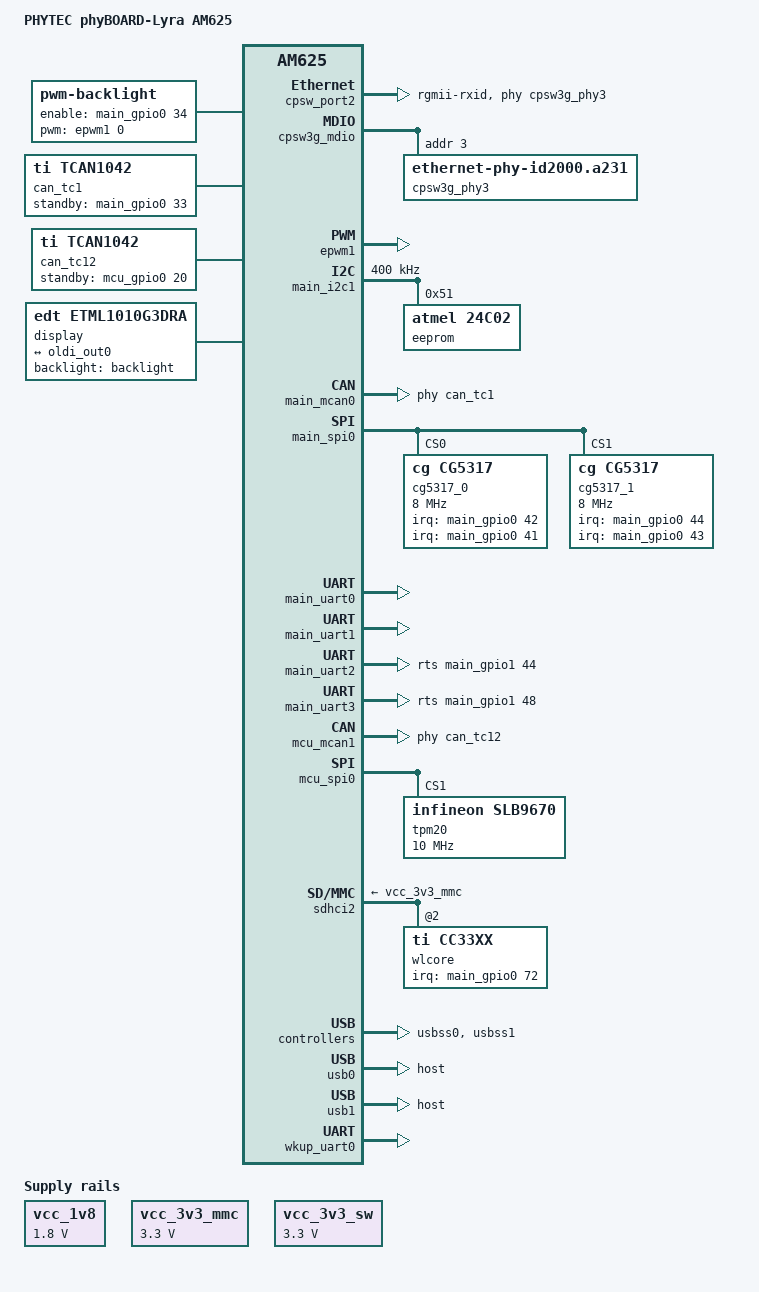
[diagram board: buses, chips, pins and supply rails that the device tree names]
// SPDX-License-Identifier: GPL-2.0
/*
 * Copyright (C) 2022 - 2023 PHYTEC Messtechnik GmbH
 * Author: Wadim Egorov <w.egorov@phytec.de>
 *
 * Product homepage:
 * https://www.phytec.com/product/phyboard-am62x
 */

#include <dt-bindings/gpio/gpio.h>
#include <dt-bindings/input/input.h>
#include <dt-bindings/leds/common.h>
#include <dt-bindings/net/ti-dp83867.h>
#include "k3-am625.dtsi"
#include "k3-am62-phycore-som.dtsi"

/ {
	compatible = "phytec,am625-phyboard-lyra-rdk",
		     "phytec,am62-phycore-som", "ti,am625";
	model = "PHYTEC phyBOARD-Lyra AM625";

	aliases {
		serial2 = &main_uart0;
		serial3 = &main_uart1;
		serial4 = &main_uart2;
		serial5 = &main_uart3;
		serial6 = &wkup_uart0;
		mmc2 = &sdhci2;
		usb0 = &usb0;
		usb1 = &usb1;
		ethernet1 = &cpsw_port2;
	};

	backlight: backlight {
		pinctrl-names = "default";
		pinctrl-0 = <&bl_pwm_pins_default>;

		compatible = "pwm-backlight";

		brightness-levels = <0 4 8 16 32 64 128 255>;
		default-brightness-level = <6>;

		enable-gpios = <&main_gpio0 34 GPIO_ACTIVE_HIGH>;
		pwms = <&epwm1 0 50000 0>;
	};

	can_tc1: can-phy0 {
		compatible = "ti,tcan1042";
		#phy-cells = <0>;
		max-bitrate = <5000000>;
		standby-gpios = <&main_gpio0 33 GPIO_ACTIVE_HIGH>;
	};

	can_tc12: can-phy1 {
		compatible = "ti,tcan1042";
		#phy-cells = <0>;
		max-bitrate = <5000000>;
		standby-gpios = <&mcu_gpio0 20 GPIO_ACTIVE_HIGH>;
	};

	display {
		compatible = "edt,etml1010g3dra";
		backlight = <&backlight>;

		port@0 {
			lcd_in0: endpoint {
				remote-endpoint = <&oldi_out0>;
			};
		};
	};

	vcc_1v8: regulator-vcc-1v8 {
		compatible = "regulator-fixed";
		regulator-name = "VCC_1V8";
		regulator-min-microvolt = <1800000>;
		regulator-max-microvolt = <1800000>;
		regulator-always-on;
		regulator-boot-on;
	};

	vcc_3v3_mmc: regulator-vcc-3v3-mmc {
		compatible = "regulator-fixed";
		regulator-name = "VCC_3V3_MMC";
		regulator-min-microvolt = <3300000>;
		regulator-max-microvolt = <3300000>;
		regulator-always-on;
		regulator-boot-on;
	};

	vcc_3v3_sw: regulator-vcc-3v3-sw {
		compatible = "regulator-fixed";
		regulator-name = "VCC_3V3_SW";
		regulator-min-microvolt = <3300000>;
		regulator-max-microvolt = <3300000>;
		regulator-always-on;
		regulator-boot-on;
	};
};

&main_pmx0 {
	bl_pwm_pins_default: bl-pwm-pins-default {
		pinctrl-single,pins = <
			AM62X_IOPAD(0x008c, PIN_OUTPUT, 7) /* (L25) GPMC0_WEn.GPIO0_34 */
			AM62X_IOPAD(0x019c, PIN_OUTPUT, 6) /* (B18) MCASP0_AXR1.EHRPWM1_A */
		>;
	};

	gpio_pins_default: gpio-pins-default {
		pinctrl-single,pins = <
			AM62X_IOPAD(0x1A4, PIN_OUTPUT, 7) /* (B20) MCASP0_ACLKX.GPIO1_11  -> MSP #OE */
			AM62X_IOPAD(0x1A8, PIN_OUTPUT, 7) /* (D20) MCASP0_AFSX.GPIO1_12  -> MSP BSL Mode */
			AM62X_IOPAD(0x1d4, PIN_INPUT, 7) /* (B15) UART0_RTSn.GPIO1_23 */
		>;
	};

	main_dss0_pins_default: main-dss0-pins-default {
		pinctrl-single,pins = <
			AM62X_IOPAD(0x0b8, PIN_OUTPUT, 0) /* (U22) VOUT0_DATA0 */
			AM62X_IOPAD(0x0bc, PIN_OUTPUT, 0) /* (V24) VOUT0_DATA1 */
			AM62X_IOPAD(0x0e0, PIN_OUTPUT, 0) /* (V20) VOUT0_DATA10 */
			AM62X_IOPAD(0x0e4, PIN_OUTPUT, 0) /* (AA23) VOUT0_DATA11 */
			AM62X_IOPAD(0x0e8, PIN_OUTPUT, 0) /* (AB25) VOUT0_DATA12 */
			AM62X_IOPAD(0x0ec, PIN_OUTPUT, 0) /* (AA24) VOUT0_DATA13 */
			AM62X_IOPAD(0x0f0, PIN_OUTPUT, 0) /* (Y22) VOUT0_DATA14 */
			AM62X_IOPAD(0x0f4, PIN_OUTPUT, 0) /* (AA21) VOUT0_DATA15 */
			AM62X_IOPAD(0x0c0, PIN_OUTPUT, 0) /* (W25) VOUT0_DATA2 */
			AM62X_IOPAD(0x0c4, PIN_OUTPUT, 0) /* (W24) VOUT0_DATA3 */
			AM62X_IOPAD(0x0c8, PIN_OUTPUT, 0) /* (Y25) VOUT0_DATA4 */
			AM62X_IOPAD(0x0cc, PIN_OUTPUT, 0) /* (Y24) VOUT0_DATA5 */
			AM62X_IOPAD(0x0d0, PIN_OUTPUT, 0) /* (Y23) VOUT0_DATA6 */
			AM62X_IOPAD(0x0d4, PIN_OUTPUT, 0) /* (AA25) VOUT0_DATA7 */
			AM62X_IOPAD(0x0d8, PIN_OUTPUT, 0) /* (V21) VOUT0_DATA8 */
			AM62X_IOPAD(0x0dc, PIN_OUTPUT, 0) /* (W21) VOUT0_DATA9 */
			AM62X_IOPAD(0x0fc, PIN_OUTPUT, 0) /* (Y20) VOUT0_DE */
			AM62X_IOPAD(0x0f8, PIN_OUTPUT, 0) /* (AB24) VOUT0_HSYNC */
			AM62X_IOPAD(0x104, PIN_OUTPUT, 0) /* (AC24) VOUT0_PCLK */
			AM62X_IOPAD(0x100, PIN_OUTPUT, 0) /* (AC25) VOUT0_VSYNC */
		>;
	};

	main_i2c1_pins_default: main-i2c1-pins-default {
		pinctrl-single,pins = <
			AM62X_IOPAD(0x1e8, PIN_INPUT_PULLUP, 0) /* (B17) I2C1_SCL */
			AM62X_IOPAD(0x1ec, PIN_INPUT_PULLUP, 0) /* (A17) I2C1_SDA */
		>;
	};

	main_mcan0_pins_default: main-mcan0-pins-default {
		pinctrl-single,pins = <
			AM62X_IOPAD(0x1dc, PIN_INPUT, 0) /* (E15) MCAN0_RX */
			AM62X_IOPAD(0x1d8, PIN_OUTPUT, 0) /* (C15) MCAN0_TX */
			AM62X_IOPAD(0x88, PIN_OUTPUT, 7) /* (L24) GPMC0_OEn_REn.GPIO0_33 */
		>;
	};

	main_mmc2_pins_default: main-mmc2-pins-default {
		pinctrl-single,pins = <
			AM62X_IOPAD(0x120, PIN_INPUT_PULLUP, 0) /* (C24) MMC2_CMD */
			AM62X_IOPAD(0x118, PIN_INPUT_PULLDOWN, 0) /* (D25) MMC2_CLK */
			AM62X_IOPAD(0x114, PIN_INPUT_PULLUP, 0) /* (B24) MMC2_DAT0 */
			AM62X_IOPAD(0x110, PIN_INPUT_PULLUP, 0) /* (C25) MMC2_DAT1 */
			AM62X_IOPAD(0x10c, PIN_INPUT_PULLUP, 0) /* (E23) MMC2_DAT2 */
			AM62X_IOPAD(0x108, PIN_INPUT_PULLUP, 0) /* (D24) MMC2_DAT3 */
			AM62X_IOPAD(0x124, PIN_INPUT_PULLUP, 0) /* (A23) MMC2_SDCD */
			AM62X_IOPAD(0x128, PIN_INPUT_PULLDOWN, 0) /* (B23) MMC2_SDWP */
		>;
	};

	main_oldi0_pins_default: main-oldi0-pins-default {
		pinctrl-single,pins = <
			AM62X_IOPAD(0x0260, PIN_OUTPUT, 0) /* (AA5) OLDI0_A0N */
			AM62X_IOPAD(0x025c, PIN_OUTPUT, 0) /* (Y6) OLDI0_A0P */
			AM62X_IOPAD(0x0268, PIN_OUTPUT, 0) /* (AD3) OLDI0_A1N */
			AM62X_IOPAD(0x0264, PIN_OUTPUT, 0) /* (AB4) OLDI0_A1P */
			AM62X_IOPAD(0x0270, PIN_OUTPUT, 0) /* (Y8) OLDI0_A2N */
			AM62X_IOPAD(0x026c, PIN_OUTPUT, 0) /* (AA8) OLDI0_A2P */
			AM62X_IOPAD(0x0278, PIN_OUTPUT, 0) /* (AB6) OLDI0_A3N */
			AM62X_IOPAD(0x0274, PIN_OUTPUT, 0) /* (AA7) OLDI0_A3P */
			AM62X_IOPAD(0x0280, PIN_OUTPUT, 0) /* (AC6) OLDI0_A4N */
			AM62X_IOPAD(0x027c, PIN_OUTPUT, 0) /* (AC5) OLDI0_A4P */
			AM62X_IOPAD(0x0288, PIN_OUTPUT, 0) /* (AE5) OLDI0_A5N */
			AM62X_IOPAD(0x0284, PIN_OUTPUT, 0) /* (AD6) OLDI0_A5P */
			AM62X_IOPAD(0x0290, PIN_OUTPUT, 0) /* (AE6) OLDI0_A6N */
			AM62X_IOPAD(0x028c, PIN_OUTPUT, 0) /* (AD7) OLDI0_A6P */
			AM62X_IOPAD(0x0298, PIN_OUTPUT, 0) /* (AD8) OLDI0_A7N */
			AM62X_IOPAD(0x0294, PIN_OUTPUT, 0) /* (AE7) OLDI0_A7P */
			AM62X_IOPAD(0x02a0, PIN_OUTPUT, 0) /* (AD4) OLDI0_CLK0N */
			AM62X_IOPAD(0x029c, PIN_OUTPUT, 0) /* (AE3) OLDI0_CLK0P */
		>;
	};

	main_rgmii2_pins_default: main-rgmii2-pins-default {
		pinctrl-single,pins = <
			AM62X_IOPAD(0x184, PIN_INPUT, 0) /* (AE23) RGMII2_RD0 */
			AM62X_IOPAD(0x188, PIN_INPUT, 0) /* (AB20) RGMII2_RD1 */
			AM62X_IOPAD(0x18c, PIN_INPUT, 0) /* (AC21) RGMII2_RD2 */
			AM62X_IOPAD(0x190, PIN_INPUT, 0) /* (AE22) RGMII2_RD3 */
			AM62X_IOPAD(0x180, PIN_INPUT, 0) /* (AD23) RGMII2_RXC */
			AM62X_IOPAD(0x17c, PIN_INPUT, 0) /* (AD22) RGMII2_RX_CTL */
			AM62X_IOPAD(0x16c, PIN_OUTPUT, 0) /* (Y18) RGMII2_TD0 */
			AM62X_IOPAD(0x170, PIN_OUTPUT, 0) /* (AA18) RGMII2_TD1 */
			AM62X_IOPAD(0x174, PIN_OUTPUT, 0) /* (AD21) RGMII2_TD2 */
			AM62X_IOPAD(0x178, PIN_OUTPUT, 0) /* (AC20) RGMII2_TD3 */
			AM62X_IOPAD(0x168, PIN_OUTPUT, 0) /* (AE21) RGMII2_TXC */
			AM62X_IOPAD(0x164, PIN_OUTPUT, 0) /* (AA19) RGMII2_TX_CTL */
		>;
	};

	main_spi0_pins_default: main-spi0-pins-default {
		pinctrl-single,pins = <
			AM62X_IOPAD(0x1bc, PIN_INPUT, 0) /* (A14) SPI0_CLK.SPI0_CLK */
			AM62X_IOPAD(0x1c0, PIN_OUTPUT, 0) /* (B13) SPI0_D0.SPI0_D0 */
			AM62X_IOPAD(0x1c4, PIN_INPUT, 0) /* (B14) SPI0_D1.SPI0_D1 */
			AM62X_IOPAD(0x1b4, PIN_OUTPUT, 0) /* (A13) SPI0_CS0.SPI0_CS0 */
			AM62X_IOPAD(0x1b8, PIN_OUTPUT, 0) /* (C13) SPI0_CS1.SPI0_CS1 */
			AM62X_IOPAD(0xA8, PIN_INPUT, 7) /* (M21) GPMC0_CSn0.GPIO0_41 */
			AM62X_IOPAD(0xAC, PIN_INPUT, 7) /* (L21) GPMC0_CSn0.GPIO0_42 */
			AM62X_IOPAD(0xB0, PIN_INPUT, 7) /* (M21) GPMC0_CSn2.GPIO0_43 */
			AM62X_IOPAD(0xB4, PIN_INPUT, 7) /* (L21) GPMC0_CSn3.GPIO0_44 */
			AM62X_IOPAD(0x1F0, PIN_OUTPUT, 7) /* (A18) EXT_REFCLK1.GPIO1_30 */
		>;
	};

	main_uart0_pins_default: main-uart0-pins-default {
		pinctrl-single,pins = <
			AM62X_IOPAD(0x1c8, PIN_INPUT, 0) /* (D14) UART0_RXD */
			AM62X_IOPAD(0x1cc, PIN_OUTPUT, 0) /* (E14) UART0_TXD */
		>;
	};

	main_uart1_pins_default: main-uart1-pins-default {
		pinctrl-single,pins = <
			AM62X_IOPAD(0x194, PIN_INPUT, 2) /* (B19) MCASP0_AXR3.UART1_CTSn */
			AM62X_IOPAD(0x198, PIN_OUTPUT, 2) /* (A19) MCASP0_AXR2.UART1_RTSn */
			AM62X_IOPAD(0x1ac, PIN_INPUT, 2) /* (E19) MCASP0_AFSR.UART1_RXD */
			AM62X_IOPAD(0x1b0, PIN_OUTPUT, 2) /* (A20) MCASP0_ACLKR.UART1_TXD */
		>;
	};

	main_uart2_pins_default: main-uart2-pins-default {
		pinctrl-single,pins = <
			AM62X_IOPAD(0x22c, PIN_OUTPUT, 7) /* (B21) MMC1_DAT1.UART2_RTSn */
			AM62X_IOPAD(0x224, PIN_INPUT_PULLUP, 3) /* (D22) MMC1_DAT3.UART2_RXD */
			AM62X_IOPAD(0x228, PIN_OUTPUT, 3) /* (C21) MMC1_DAT2.UART2_TXD */
		>;
	};

	main_uart3_pins_default: main-uart3-pins-default {
		pinctrl-single,pins = <
			AM62X_IOPAD(0x240, PIN_OUTPUT, 7) /* (D17) MMC1_SDCD.UART3_RTSn */
			AM62X_IOPAD(0x234, PIN_INPUT_PULLUP, 3) /* (B22) MMC1_CLK.UART3_RXD */
			AM62X_IOPAD(0x23C, PIN_OUTPUT, 3) /* (A21) MMC1_CMD.UART3_TXD */
		>;
	};

	main_usb0_pins_default: main-usb0-pins-default {
		pinctrl-single,pins = <
			AM64X_IOPAD(0x0254, PIN_OUTPUT, 0) /* (C20) USB0_DRVVBUS */
		>;
	};

	main_usb1_pins_default: main-usb1-pins-default {
		pinctrl-single,pins = <
			AM62X_IOPAD(0x258, PIN_OUTPUT, 0) /* (F18) USB1_DRVVBUS */
		>;
	};

	usb_typec_int_pins_default: usb-typec-int-pins-default {
		pinctrl-single,pins = <
			AM62X_IOPAD(0x088, PIN_INPUT, 7) /* (L24) GPMC0_OEn_REn.GPIO0_33 */
		>;
	};
};

&mcu_pmx0 {

	mcu_mcan1_pins_default: mcu-mcan1-pins-default {
		pinctrl-single,pins = <
			AM62X_MCU_IOPAD(0x38, PIN_INPUT, 0) /* (E15) MCAN0_RX */
			AM62X_MCU_IOPAD(0x34, PIN_OUTPUT, 0) /* (C15) MCAN0_TX */
			AM62X_MCU_IOPAD(0x50, PIN_OUTPUT, 7) /* (A9) WKUP_I2C0_SDA.MCU_GPIO0_20 */
		>;
	};

	mcu_spi0_pins_default: mcu-spi0-pins-default {
		pinctrl-single,pins = <
		AM62X_IOPAD(0x008, PIN_OUTPUT, 0) /* (A7) MCU_SPI0_CLK.MCU_SPI0_CLK */
		AM62X_IOPAD(0x00c, PIN_OUTPUT, 0) /* (D9) MCU_SPI0_D0.MCU_SPI0_D0 */
		AM62X_IOPAD(0x010, PIN_INPUT, 0) /* (C9) MCU_SPI0_D1.MCU_SPI0_D1 */
		AM62X_IOPAD(0x004, PIN_OUTPUT, 0) /* (B8) MCU_SPI0_CS1.MCU_SPI0_CS1 */
		AM62X_IOPAD(0x04C, PIN_INPUT, 7) /* (B9) WKUP_I2C0_SCL.GPIO0_19 */
	>;
};

	wkup_uart0_pins_default: wkup-uart0-pins-default {
		pinctrl-single,pins = <
			AM62X_MCU_IOPAD(0x0024, PIN_INPUT, 0) /* (B4) WKUP_UART0_RXD */
			AM62X_MCU_IOPAD(0x0028, PIN_OUTPUT, 0) /* (C5) WKUP_UART0_TXD */
		>;
	};
};

&cpsw3g {
	pinctrl-names = "default";
	pinctrl-0 = <&main_rgmii1_pins_default>, <&main_rgmii2_pins_default>;
};

&cpsw_port2 {
	phy-mode = "rgmii-rxid";
	phy-handle = <&cpsw3g_phy3>;
};

&cpsw3g_mdio {
	cpsw3g_phy3: ethernet-phy@3 {
		compatible = "ethernet-phy-id2000.a231", "ethernet-phy-ieee802.3-c22";
		reg = <3>;
		ti,clk-output-sel = <DP83867_CLK_O_SEL_OFF>;
		ti,rx-internal-delay = <DP83867_RGMIIDCTL_2_50_NS>;
		ti,fifo-depth = <DP83867_PHYCR_FIFO_DEPTH_4_B_NIB>;
	};
};

&epwm1 {
	status = "okay";
};

&dss {
	pinctrl-names = "default";
	pinctrl-0 = <&main_oldi0_pins_default &main_dss0_pins_default>;
};

&dss_ports {
	#address-cells = <1>;
	#size-cells = <0>;

	/* VP1: LVDS Output */
	port@0 {
		reg = <0>;

		oldi_out0: endpoint {
			remote-endpoint = <&lcd_in0>;
		};
	};
};

&main_i2c1 {
	pinctrl-names = "default";
	pinctrl-0 = <&main_i2c1_pins_default>;
	clock-frequency = <400000>;
	status = "okay";

	eeprom@51 {
		compatible = "atmel,24c02";
		pagesize = <16>;
		reg = <0x51>;
	};
};

&i2c_som_rtc {
	enable-level-switching-mode;
};

&main_mcan0 {
	pinctrl-names = "default";
	pinctrl-0 = <&main_mcan0_pins_default>;
	phys = <&can_tc1>;
	status = "okay";
};

&main_spi0 {
	#address-cells = <1>;
	#size-cells = <0>;

	pinctrl-names = "default";
	pinctrl-0 = <&main_spi0_pins_default>;
	ti,spi-num-cs = <2>;
	ti,pindir-d0-out-d1-in;
	status = "okay";
	/* cs-gpios necessary ? */

	cg5317_0: cg5317_0@0 {
		status = "okay";
		compatible = "cg,cg5317";
		reg = <0x0>;
		interrupts-extended = <&main_gpio0 42 IRQ_TYPE_EDGE_RISING>, <&main_gpio0 41 IRQ_TYPE_EDGE_RISING>; 
		interrupt-names = "gp_irq", "rx_irq";
		spi-cpha; /* SPI mode: CPHA=1 */
		spi-max-frequency = <8000000>; /* freq: 8 MHz */
	};

	cg5317_1: cg5317_1@1 {
		status = "okay";
		compatible = "cg,cg5317";
		reg = <1>;
		interrupts-extended = <&main_gpio0 44 IRQ_TYPE_EDGE_RISING>, <&main_gpio0 43 IRQ_TYPE_EDGE_RISING> ;
		interrupt-names = "gp_irq", "rx_irq";
		spi-cpha; /* SPI mode: CPHA=1 */
		spi-max-frequency = <8000000>; /* freq: 8 MHz */
	};
};

&main_uart0 {
	pinctrl-names = "default";
	pinctrl-0 = <&main_uart0_pins_default>;
	status = "okay";
};

&main_uart1 {
	pinctrl-names = "default";
	pinctrl-0 = <&main_uart1_pins_default>;
	/* Main UART1 may be used by TIFS firmware */
	status = "okay";
};


&main_uart2 {
	pinctrl-names = "default";
	pinctrl-0 = <&main_uart2_pins_default>;
	linux,rs485-enabled-at-boot-time;
	rts-gpios = <&main_gpio1 44 GPIO_ACTIVE_HIGH>;
	status = "okay";
};

&main_uart3 {
	pinctrl-names = "default";
	pinctrl-0 = <&main_uart3_pins_default>;
	linux,rs485-enabled-at-boot-time;
	rts-gpios = <&main_gpio1 48 GPIO_ACTIVE_HIGH>;
	status = "okay";
};

&mcu_mcan1 {
	pinctrl-names = "default";
	pinctrl-0 = <&mcu_mcan1_pins_default>;
	phys = <&can_tc12>;
	status = "okay";
};

&mcu_spi0 {
	#address-cells = <1>;
	#size-cells = <0>;

	pinctrl-names = "default";
	pinctrl-0 = <&mcu_spi0_pins_default>;
	ti,spi-num-cs = <2>;
	ti,pindir-d0-out-d1-in;
	status = "okay";

	tpm20@1 {
		compatible = "infineon,slb9670";
		reg = <1>;
		spi-max-frequency = <10000000>;
		status = "okay";
	};
};

&sdhci2 {
	vmmc-supply = <&vcc_3v3_mmc>;
	vqmmc-supply = <&vddshv5_sdio>;
	pinctrl-names = "default";
	pinctrl-0 = <&main_mmc2_pins_default>;
	ti,driver-strength-ohm = <50>;
	disable-wp;
	no-1-8-v;
	status = "okay";

	wlcore: wlcore@0 {
		compatible = "ti,cc33xx";
		reg = <2>;
		interrupt-parent = <&main_gpio0>;
		interrupts = <72 IRQ_TYPE_LEVEL_HIGH>;
		irq-gpio = <&main_gpio0 72 GPIO_ACTIVE_HIGH>;
	};
};

&usbss0 {
	ti,vbus-divider;
	status = "okay";
};

&usbss1 {
	ti,vbus-divider;
	status = "okay";
};

&usb0 {
	pinctrl-names = "default";
	dr_mode = "host";
	pinctrl-0 = <&main_usb0_pins_default>;
};

&usb1 {
	pinctrl-names = "default";
	dr_mode = "host";
	pinctrl-0 = <&main_usb1_pins_default>;
};

&wkup_uart0 {
	pinctrl-names = "default";
	pinctrl-0 = <&wkup_uart0_pins_default>;
	status = "okay";
};
